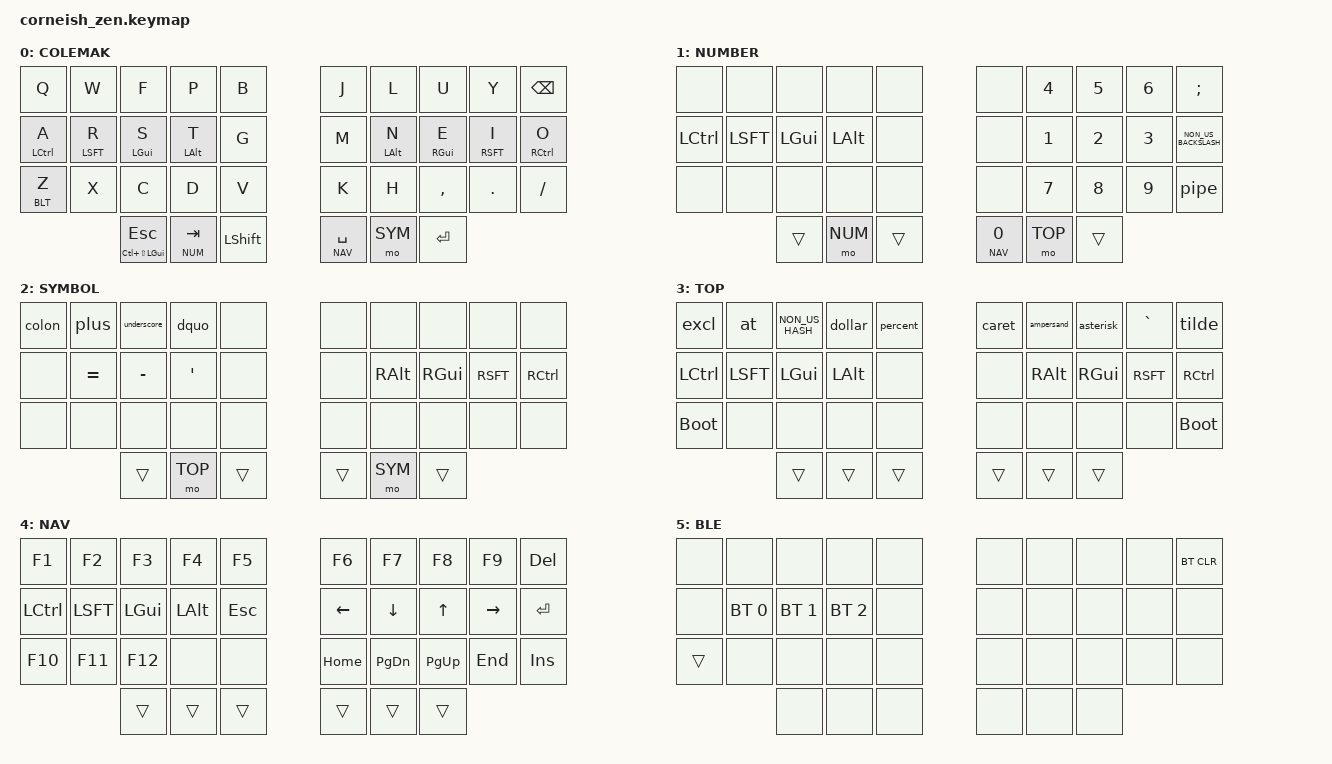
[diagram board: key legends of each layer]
/*
 * Copyright (c) 2020 The ZMK Contributors
 * Copyright (c) 2022 drew@abstracterror.com
 *
 * SPDX-License-Identifier: MIT
 */

#include <behaviors.dtsi>
#include <dt-bindings/zmk/keys.h>
#include <dt-bindings/zmk/bt.h>

// layers
#define DEF 0
#define NUM 1
#define SYM 2
#define TOP 3
#define NAV 4
#define BLT 5

// keys
#define NUBS   NON_US_BACKSLASH
#define NUHS   NON_US_HASH

// MEH should be LC(LS(LALT)), but I have LALT and LGUI swapped in macOS system
// settings so that I can use the same keymap with Windows machines.
#define MEH    LC(LS(LGUI))

// A macro for shifted characters, instead of using ZMK's shifted character
// codes, as a workaround for https://github.com/zmkfirmware/zmk/issues/759.
#define SHIFTED(name, kc) \
    ZMK_MACRO(name, \
        wait-ms = <16>; \
        bindings \
            = <&macro_press &kp LSHFT> \
            , <&macro_tap &kp kc> \
            , <&macro_release &kp LSHFT> \
        ; \
    )

&mt {
    flavor = "tap-preferred";
    tapping_term_ms = <200>;
};

&caps_word {
    continue-list = <UNDERSCORE BACKSPACE>;
};

/ {
    macros {
        // shifted characters based on UK ISO layout
        SHIFTED(excl,       N1)
        SHIFTED(dquo,       N2)
        SHIFTED(pound,      N3)
        SHIFTED(dollar,     N4)
        SHIFTED(percent,    N5)
        SHIFTED(caret,      N6)
        SHIFTED(ampersand,  N7)
        SHIFTED(asterisk,   N8)
        SHIFTED(lpar,       N9)
        SHIFTED(rpar,       N0)
        SHIFTED(underscore, MINUS)
        SHIFTED(plus,       EQUAL)
        SHIFTED(lbrc,       LEFT_BRACKET)
        SHIFTED(rbrc,       RIGHT_BRACKET)
        SHIFTED(colon,      SEMICOLON)
        SHIFTED(at,         SINGLE_QUOTE)
        SHIFTED(tilde,      NON_US_HASH)
        SHIFTED(pipe,       NON_US_BACKSLASH)
    };

    combos {
        compatible = "zmk,combos";
        combo_esc {
            timeout-ms = <60>;
            key-positions = <0 1>;
            bindings = <&kp ESC>;
        };

        combo_left_bracket {
            timeout-ms = <60>;
            key-positions = <1 11>;
            bindings = <&kp LEFT_BRACKET>;
        };

        combo_left_brace {
            timeout-ms = <60>;
            key-positions = <2 12>;
            bindings = <&lbrc>;
        };

        combo_left_paren {
            timeout-ms = <60>;
            key-positions = <3 13>;
            bindings = <&lpar>;
        };

        combo_right_paren {
            timeout-ms = <60>;
            key-positions = <6 16>;
            bindings = <&rpar>;
        };

        combo_right_brace {
            timeout-ms = <60>;
            key-positions = <7 17>;
            bindings = <&rbrc>;
        };

        combo_right_bracket {
            timeout-ms = <60>;
            key-positions = <8 18>;
            bindings = <&kp RIGHT_BRACKET>;
        };
    };

    behaviors {
        shift_cw: shift_caps_word {
            compatible = "zmk,behavior-tap-dance";
            label = "TAP_DANCE_SHIFT_CAPS_WORD";
            #binding-cells = <0>;
            tapping-term-ms = <200>;
            bindings = <&kp LSFT>, <&caps_word>;
        };
    };

    chosen {
        zmk,matrix_transform = &five_column_transform;
    };

    keymap {
        compatible = "zmk,keymap";

        default_layer {
            label = "COLEMAK";
            bindings = <
                &kp Q       &kp W       &kp F       &kp P       &kp B                   &kp J       &kp L       &kp U       &kp Y       &kp BKSP
                &mt LCTL A  &mt LSFT R  &mt LGUI S  &mt LALT T  &kp G                   &kp M       &mt LALT N  &mt RGUI E  &mt RSFT I  &mt RCTL O
                &lt BLT Z   &kp X       &kp C       &kp D       &kp V                   &kp K       &kp H       &kp CMMA    &kp DOT     &kp FSLH
                                        &mt MEH ESC &lt NUM TAB &kp LSHFT               &lt NAV SPC &mo SYM     &kp ENTER
            >;
        };

        number_layer {
            label = "NUMBER";
            bindings = <
                &none       &none       &none       &none       &none                   &none       &kp NUM_4   &kp NUM_5   &kp NUM_6   &kp SCLN
                &kp LCTL    &kp LSFT    &kp LGUI    &kp LALT    &none                   &none       &kp NUM_1   &kp NUM_2   &kp NUM_3   &kp NUBS
                &none       &none       &none       &none       &none                   &none       &kp NUM_7   &kp NUM_8   &kp NUM_9   &pipe
                                        &trans      &mo NUM     &trans                  &lt NAV NUM_0  &mo TOP  &trans
            >;
        };

        symbols_layer {
            label = "SYMBOL";
            bindings = <
                &colon      &plus       &underscore &dquo       &none                   &none       &none       &none       &none       &none
                &none       &kp EQUAL   &kp MINUS   &kp SQT     &none                   &none       &kp RALT    &kp RGUI    &kp RSFT    &kp RCTL
                &none       &none       &none       &none       &none                   &none       &none       &none       &none       &none
                                        &trans      &mo TOP     &trans                  &trans      &mo SYM     &trans
            >;
        };

        top_layer {
            label = "TOP";
            bindings = <
                &excl       &at         &kp NUHS    &dollar     &percent                &caret      &ampersand  &asterisk   &kp GRAVE   &tilde
                &kp LCTL    &kp LSFT    &kp LGUI    &kp LALT    &none                   &none       &kp RALT    &kp RGUI    &kp RSFT    &kp RCTL
                &bootloader &none       &none       &none       &none                   &none       &none       &none       &none       &bootloader
                                        &trans      &trans      &trans                  &trans      &trans      &trans
            >;
        };

        nav_layer {
            label = "NAV";
            bindings = <
                &kp F1      &kp F2      &kp F3      &kp F4      &kp F5                  &kp F6      &kp F7      &kp F8      &kp F9      &kp DEL
                &kp LCTL    &kp LSFT    &kp LGUI    &kp LALT    &kp ESC                 &kp LEFT    &kp DOWN    &kp UP      &kp RIGHT   &kp ENTER
                &kp F10     &kp F11     &kp F12     &none       &none                   &kp HOME    &kp PG_DN   &kp PG_UP   &kp END     &kp INS
                                        &trans      &trans      &trans                  &trans      &trans      &trans
            >;
        };

        bluetooth_layer {
            label = "BLE";
            bindings = <
                &none       &none         &none         &none         &none             &none       &none       &none       &none       &bt BT_CLR
                &none       &bt BT_SEL 0  &bt BT_SEL 1  &bt BT_SEL 2  &none             &none       &none       &none       &none       &none
                &trans      &none         &none         &none         &none             &none       &none       &none       &none       &none
                                          &none         &none         &none             &none       &none       &none
            >;
        };
    };
};
